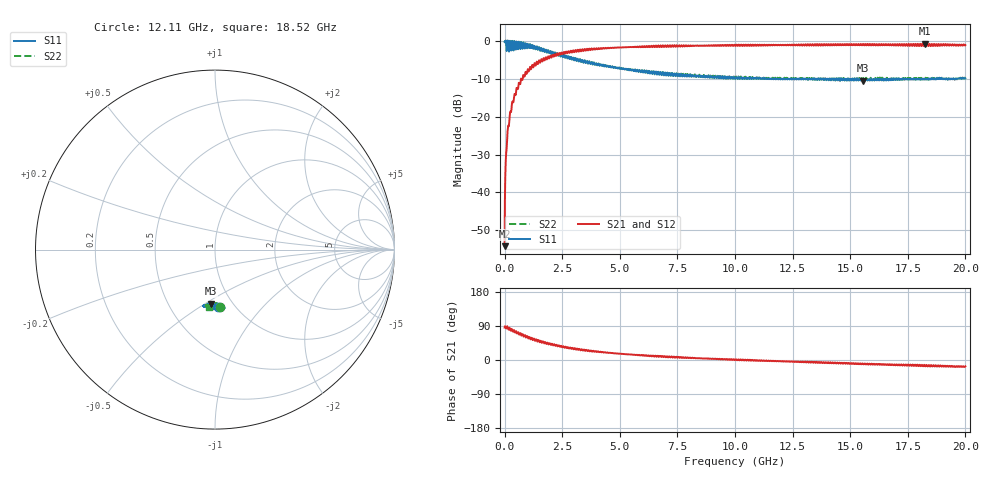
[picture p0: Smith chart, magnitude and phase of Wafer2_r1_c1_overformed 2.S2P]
!  2-Port S-parameters saved by WinCal
! VAR MeasName=S-Parameters (CALIBRATED_DATA) read from VNA (P5004A)
! VAR MeasDate=24/04/2024 16:28:09
! VAR NAME=Wafer2_r1_c1_overformed 2
! VAR FILENAME=Wafer2_r1_c1_overformed 2.S2P
! VAR DATE=24/04/2024 16:28:09
! VAR PHYS_PORTS=1,2
! VAR ObjTypeName=DATASET
! VAR IndexType=Frequency
# Hz S MA R 50
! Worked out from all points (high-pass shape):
!   4999 points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, 4.01 MHz to 20 GHz, reference 50 ohm
!   highest |S21| = -0.64 dB at 18.24 GHz (marker M1); lowest = -54.3 dB at 4.01 MHz (marker M2)
!   |S21| within 3 dB of the highest: 2.251 GHz to 2.323 GHz (72.52 MHz wide, 3.17 % of centre); 2.335 GHz to end of sweep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
!   lowest |S11| = -10.4 dB at 15.56 GHz (marker M3), VSWR 1.87, Z = 40.1 - j26.7 ohm
!   |S11| at or under -10 dB: 15.42 GHz to 15.5 GHz (78.59 MHz wide, 0.508 % of centre); 15.51 GHz to 15.91 GHz (396.5 MHz wide, 2.52 % of centre); 15.92 GHz to 16 GHz (83.89 MHz wide, 0.526 % of centre)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
!   |S22| runs from -10.4 to 0.2 dB; largest |S21 - S12| = 0.016
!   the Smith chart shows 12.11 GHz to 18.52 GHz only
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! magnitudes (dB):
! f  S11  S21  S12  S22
! 4.01 MHz  -0.1  -54.3  -54.2  -0.1
! 40.02 MHz  0.1  -34.2  -34.2  0.1
! 108 MHz  -2.0  -26.9  -26.6  -1.7
! 140 MHz  0.2  -23.4  -23.4  0.2
! 184 MHz  -2.3  -22.4  -22.2  -2.0
! 248.1 MHz  -0.1  -18.7  -18.8  0.0
! 348.1 MHz  -0.2  -16.0  -16.0  -0.2
! 492.1 MHz  -2.1  -13.9  -13.8  -1.9
! 628.1 MHz  -0.3  -11.0  -11.0  -0.3
! 804.2 MHz  -0.8  -9.2  -9.1  -0.5
! 1.004 GHz  -0.7  -7.5  -7.4  -0.6
! 1.548 GHz  -2.4  -5.6  -5.6  -2.4
! 2.348 GHz  -3.7  -3.5  -3.5  -3.7
! 3.341 GHz  -5.3  -2.4  -2.5  -5.3
! 4.913 GHz  -7.2  -1.6  -1.6  -7.0
! 6.673 GHz  -8.1  -1.1  -1.1  -8.1
! 10 GHz  -9.8  -1.1  -1.2  -9.8
! 13.33 GHz  -9.9  -1.0  -1.0  -9.7
! 15.56 GHz  -10.4  -0.7  -0.7  -10.3
! 16.67 GHz  -10.3  -0.9  -0.9  -9.9
! 18.24 GHz  -10.1  -0.6  -0.6  -10.1
! 20 GHz  -9.8  -1.0  -1.0  -9.7
